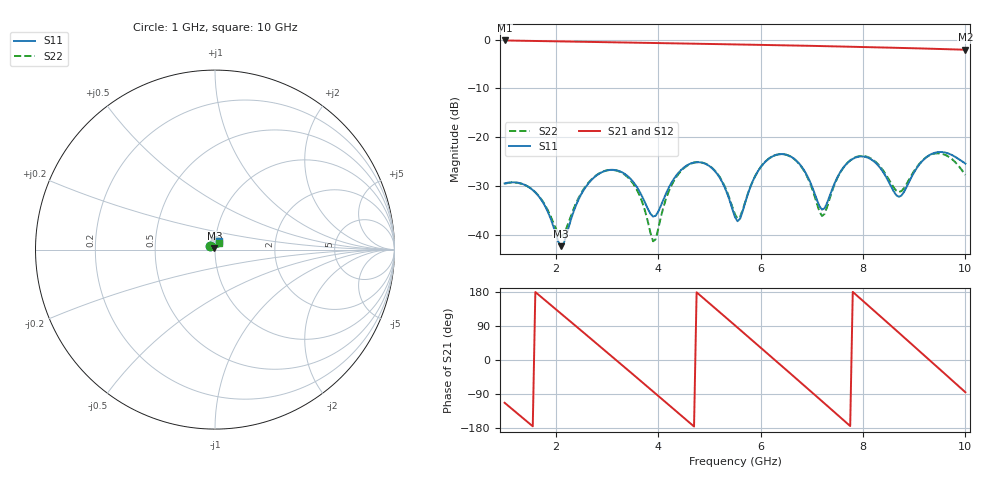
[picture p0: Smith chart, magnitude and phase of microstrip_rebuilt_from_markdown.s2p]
! Touchstone file exported from HFSS 2025.1.0
!  File:  /home/solarstatiion/aedt-mcp/projects/microstrip_rebuilt_from_markdown_20260802_231316/microstrip_rebuilt_from_markdown.aedt
!  Generated:  11:16:14 PM Aug  2, 2026
!  Design:  Microstrip50Ohm
!  Project:  microstrip_rebuilt_from_markdown
!  Setup:  Setup1
!  Solution:  Sweep1
# GHz S MA R 50.000000
! Terminal data exported
! Port[1] = Port1
! Port[2] = Port2
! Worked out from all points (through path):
!   181 points, 1 GHz to 10 GHz, reference 50 ohm
!   highest |S21| = -0.19 dB at 1 GHz (marker M1); lowest = -2.1 dB at 10 GHz (marker M2)
!   group delay of S21, straight-line fit = 325 ps
!   lowest |S11| = -42.3 dB at 2.1 GHz (marker M3), VSWR 1.02, Z = 49.7 + j0.707 ohm
!   |S11| at or under -10 dB: start of sweep to end of sweep
!   |S22| runs from -41.3 to -23.3 dB; largest |S21 - S12| = 3.3e-14
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1  0.03365 144.5  0.9785 -112.9  0.9785 -112.9  0.0334 146.8
! Gamma 0 0 0 0
! Port Impedance 50 0 50 0
1.55  0.0288 94.7  0.9673 -175.0  0.9673 -175.0  0.02887 98.7
2.1  0.007664 111.9  0.9566 122.7  0.9566 122.7  0.009681 114.2
2.5  0.02627 150.2  0.9487 77.2  0.9487 77.2  0.027 145.7
3.2  0.04564 93.2  0.9348 -2.7  0.9348 -2.7  0.0453 88.1
3.65  0.02693 65.6  0.9268 -54.3  0.9268 -54.3  0.02438 53.4
3.9  0.01542 91.4  0.9223 -83.1  0.9223 -83.1  0.008604 87.5
4  0.01726 113.1  0.9204 -94.6  0.9204 -94.6  0.01151 130.1
4.3  0.03703 121.7  0.9145 -129.2  0.9145 -129.2  0.03528 132.9
4.75  0.05551 87.5  0.9055 178.7  0.9055 178.7  0.05548 93.7
5.5  0.01521 65.9  0.8921 91.3  0.8921 91.3  0.01618 68.9
5.85  0.03578 122.8  0.8849 50.3  0.8849 50.3  0.03587 123.6
6.25  0.06436 93.6  0.876 3.4  0.876 3.4  0.06436 94.4
6.6  0.06291 62.9  0.8689 -37.8  0.8689 -37.8  0.06269 62.9
7  0.0317 41.4  0.8614 -85.1  0.8614 -85.1  0.0304 39.2
7.2  0.01813 72.1  0.8573 -108.8  0.8573 -108.8  0.01561 73.6
7.75  0.05766 94.6  0.8436 -174.3  0.8436 -174.3  0.05796 98.2
8.1  0.06157 67.7  0.8349 144.0  0.8349 144.0  0.06256 70.5
8.5  0.03512 52.0  0.8261 96.1  0.8261 96.1  0.03722 54.9
8.75  0.02524 87.6  0.8205 66.0  0.8205 66.0  0.02809 85.0
9.25  0.0631 96.5  0.8073 5.7  0.8073 5.7  0.063 91.0
10  0.05378 67.0  0.7864 -85.1  0.7864 -85.1  0.04111 58.5
